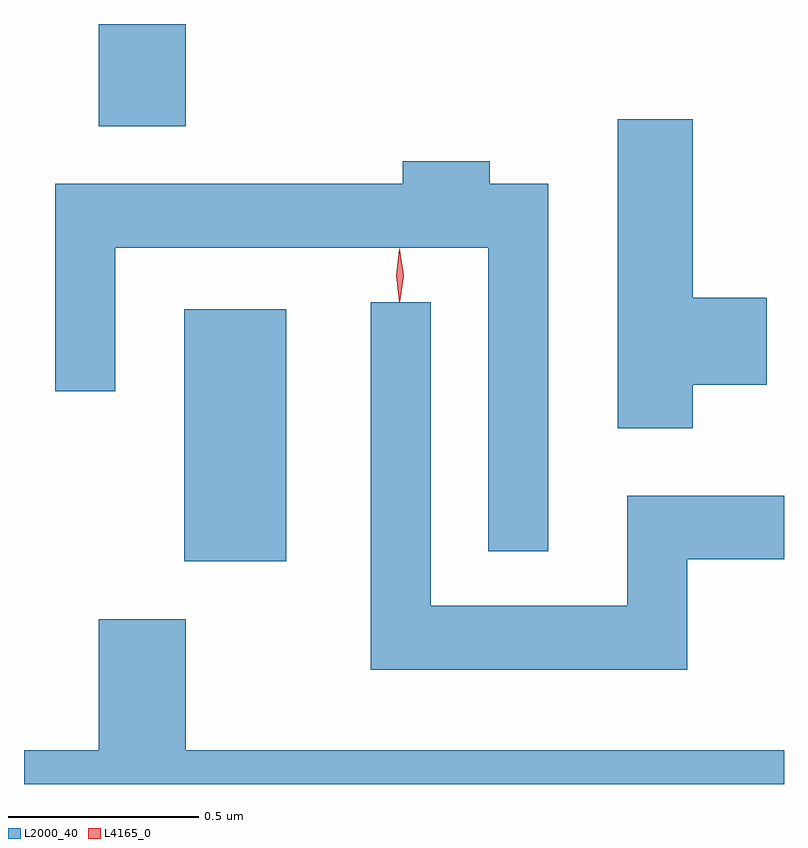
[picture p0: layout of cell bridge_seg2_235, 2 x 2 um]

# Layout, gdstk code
import gdstk
lib = gdstk.Library(unit=1e-6, precision=1e-09)
def R(c, l, rs):  # rectangles x0, y0, x1, y1
    for r in rs: c.add(gdstk.rectangle(r[:2], r[2:], *l))
def P(c, l, *ps):  # polygons
    for p in ps: c.add(gdstk.Polygon(p, *l))
L2000_40 = (2000, 40)
L4165_0 = (4165, 0)

bridge_seg2_235 = lib.new_cell('bridge_seg2_235')
R(bridge_seg2_235, L2000_40, [(541.976,1097.921,542.244,1098.584), (541.751,1099.066,541.979,1099.335)])
P(bridge_seg2_235, L2000_40, [(543.314,1098.386),(543.509,1098.386),(543.509,1098.614),(543.314,1098.614),(543.314,1099.084),(543.116,1099.084),(543.116,1098.271),(543.314,1098.271)],
  [(542.934,1098.914),(542.779,1098.914),(542.779,1098.974),(542.551,1098.974),(542.551,1098.914),(541.636,1098.914),(541.636,1098.368),(541.794,1098.368),(541.794,1098.746),(542.776,1098.746),(542.776,1097.948),(542.934,1097.948)],
  [(543.299,1097.926),(543.554,1097.926),(543.554,1098.094),(543.141,1098.094),(543.141,1097.804),(542.624,1097.804),(542.624,1098.603),(542.466,1098.603),(542.466,1097.636),(543.299,1097.636)],
  [(543.554,1097.424),(541.979,1097.424),(541.979,1097.769),(541.751,1097.769),(541.751,1097.424),(541.554,1097.424),(541.554,1097.335),(543.554,1097.335)])
P(bridge_seg2_235, L4165_0, [(542.543,1098.603),(542.542,1098.604),(542.533,1098.673),(542.542,1098.742),(542.543,1098.743),(542.543,1098.742),(542.553,1098.673),(542.543,1098.604)],
  [(542.543,1098.607),(542.543,1098.608),(542.533,1098.674),(542.542,1098.74),(542.543,1098.74),(542.543,1098.74),(542.553,1098.674),(542.544,1098.608)])

lib.write_gds('bridge_seg2_235.gds')
